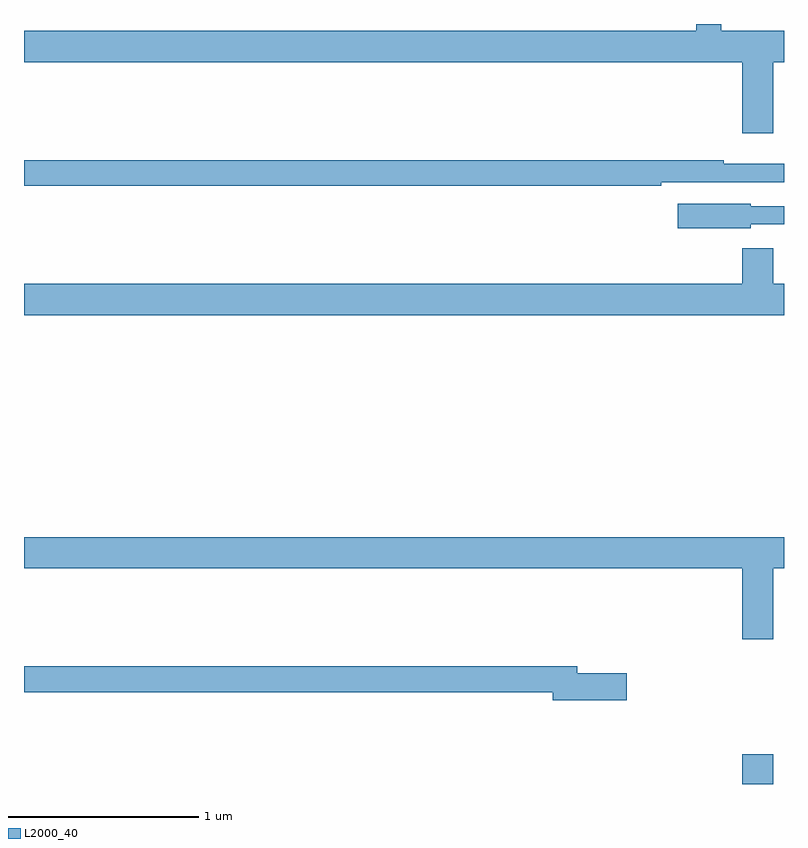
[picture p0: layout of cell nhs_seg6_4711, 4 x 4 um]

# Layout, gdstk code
import gdstk
lib = gdstk.Library(unit=1e-6, precision=1e-09)
def R(c, l, rs):  # rectangles x0, y0, x1, y1
    for r in rs: c.add(gdstk.rectangle(r[:2], r[2:], *l))
def P(c, l, *ps):  # polygons
    for p in ps: c.add(gdstk.Polygon(p, *l))
L2000_40 = (2000, 40)

nhs_seg6_4711 = lib.new_cell('nhs_seg6_4711')
R(nhs_seg6_4711, L2000_40, [(392.78,979.5,392.944,979.657)])
P(nhs_seg6_4711, L2000_40, [(392.944,983.3),(393,983.3),(393,983.464),(392.669,983.464),(392.669,983.5),(392.539,983.5),(392.539,983.464),(389,983.464),(389,983.3),(392.78,983.3),(392.78,982.926),(392.944,982.926)],
  [(392.354,982.668),(393,982.668),(393,982.765),(392.684,982.765),(392.684,982.784),(389,982.784),(389,982.648),(392.354,982.648)],
  [(392.826,982.446),(393,982.446),(393,982.542),(392.826,982.542),(392.826,982.555),(392.442,982.555),(392.442,982.426),(392.826,982.426)],
  [(393,982.132),(392.944,982.132),(392.944,982.321),(392.78,982.321),(392.78,982.132),(389,982.132),(389,981.968),(393,981.968)],
  [(392.944,980.636),(393,980.636),(393,980.8),(389,980.8),(389,980.636),(392.78,980.636),(392.78,980.262),(392.944,980.262)],
  [(392.173,980.084),(391.912,980.084),(391.912,980.12),(389,980.12),(389,979.984),(391.784,979.984),(391.784,979.942),(392.173,979.942)])

lib.write_gds('nhs_seg6_4711.gds')
